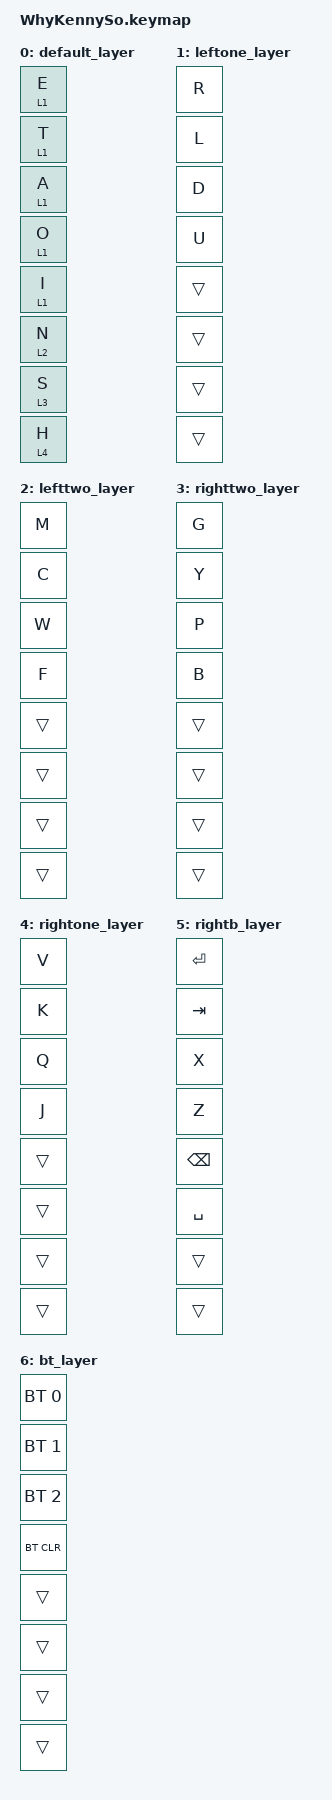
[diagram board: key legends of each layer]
#include <behaviors.dtsi>
#include <dt-bindings/zmk/keys.h>
#include <dt-bindings/zmk/bt.h>


#define DEFAULT 0
#define LEFTONE   1
#define LEFTTWO   2
#define RIGHTTWO  3
#define RIGHTONE  4
#define RIGHTB    5
#define BT        6
/ {
    conditional_layers {
        compatible = "zmk,conditional-layers";
        rightb_layer {
            if-layers = <3 4>;
            then-layer = <5>;
        };
        bt_layer {
            if-layers = <1 2 3 4>;
            then-layer = <6>;
        };
    };
};
&lt {
    tapping-term-ms = <200>;
};
/ {
    keymap{
        compatible = "zmk,keymap";

        default_layer{
            bindings = <
//1
            &lt 1 E
//2
            &lt 1 T
//3
            &lt 1 A
//4
            &lt 1 O
//5
            &lt 1 I
//6
            &lt 2 N
//7
            &lt 3 S
//8         
            &lt 4 H
                
            >;
        };
        leftone_layer{
            bindings = <
//1
            &kp R
//2
            &kp L
//3
            &kp D
//4
            &kp U
//5
            &trans
//6
            &trans
//7
            &trans
//8         
            &trans
                
            >;
        };
    lefttwo_layer{
            bindings = <
//1
            &kp M
//2
            &kp C
//3
            &kp W
//4
            &kp F
//5
            &trans
//6
            &trans
//7
            &trans
//8         
            &trans
                
            >;
        };
        righttwo_layer{
            bindings = <
//1
            &kp G
//2
            &kp Y
//3
            &kp P
//4
            &kp B
//5
            &trans
//6
            &trans
//7
            &trans
//8         
            &trans
                
            >;
        };
        rightone_layer{
            bindings = <
//1
            &kp V
//2
            &kp K
//3
            &kp Q
//4
            &kp J
//5
            &trans
//6
            &trans
//7
            &trans
//8         
            &trans
                
            >;
        };
        rightb_layer{
            bindings = <
//1
            &kp ENTER
//2
            &kp TAB
//3
            &kp X 
//4
            &kp Z
//5
            &kp BACKSPACE
//6
            &kp SPACE
//7
            &trans
//8         
            &trans
                
            >;
        };
        bt_layer{
            bindings = <
//1
            &bt BT_SEL 0
//2
            &bt BT_SEL 1
//3
            &bt BT_SEL 2
//4
            &bt BT_CLR
//5
            &trans
//6
            &trans
//7
            &trans
//8         
            &trans
                
            >;
        };

    };
};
